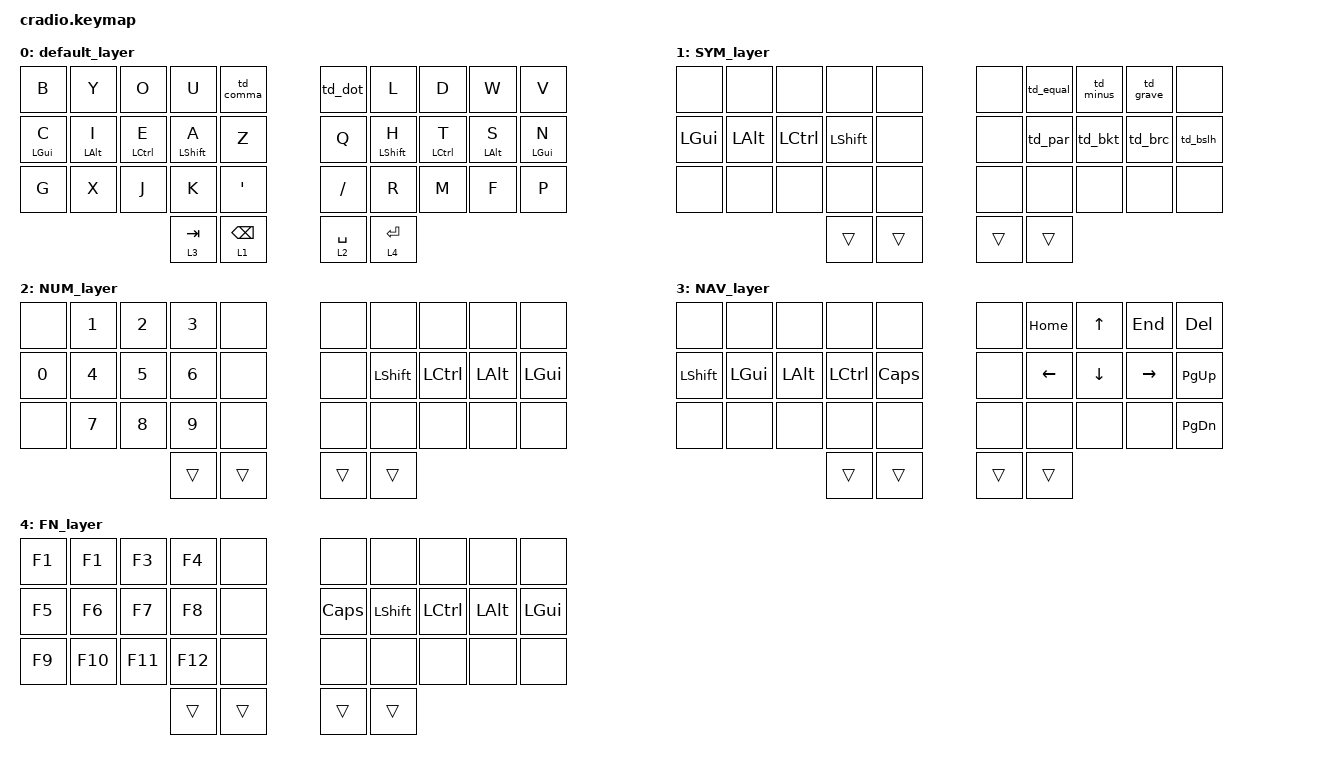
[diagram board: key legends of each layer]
// Copyright (c) 2022 The ZMK Contributors
// SPDX-License-Identifier: MIT

#include <behaviors.dtsi>
#include <dt-bindings/zmk/ext_power.h>
#include <dt-bindings/zmk/outputs.h>
#include <dt-bindings/zmk/keys.h>
#include <dt-bindings/zmk/bt.h>

&sk {
    release-after-ms = <10000>;
};

/ {
    behaviors {

        lo: layer_mo {
            label = "layer_mo";
            compatible = "zmk,behavior-hold-tap";
            #binding-cells = <2>;
            flavor = "hold-preferred";
            tapping-term-ms = <250>;
            quick-tap-ms = <500>;
            bindings = <&mo>, <&kp>;
        };

        hm: homerow_mods {
            label = "homerow_mods";
            compatible = "zmk,behavior-hold-tap";
            #binding-cells = <2>;
            flavor = "tap-preferred";
            tapping-term-ms = <350>;
            quick-tap-ms = <500>;
            bindings = <&sk>, <&kp>;
        };

        td_comma: tap_dance_comma {
            compatible = "zmk,behavior-tap-dance";
            label = "tap_dance_comma";
            #binding-cells = <0>;
            tapping-term-ms = <250>;
            bindings = <&kp COMMA>, <&kp SEMI>;
        };

        td_dot: tap_dance_dot {
            compatible = "zmk,behavior-tap-dance";
            label = "tap_dance_dot";
            #binding-cells = <0>;
            tapping-term-ms = <250>;
            bindings = <&kp DOT>, <&kp COLON>;
        };

        td_grave: tap_dance_grave {
            compatible = "zmk,behavior-tap-dance";
            label = "tap_dance_grave";
            #binding-cells = <0>;
            tapping-term-ms = <250>;
            bindings = <&kp GRAVE>, <&kp TILDE>;
        };

        td_minus: tap_dance_minus {
            compatible = "zmk,behavior-tap-dance";
            label = "tap_dance_minus";
            #binding-cells = <0>;
            tapping-term-ms = <250>;
            bindings = <&kp MINUS>, <&kp UNDER>;
        };

        td_equal: tap_dance_equal {
            compatible = "zmk,behavior-tap-dance";
            label = "tap_dance_equal";
            #binding-cells = <0>;
            tapping-term-ms = <250>;
            bindings = <&kp EQUAL>, <&kp PLUS>;
        };

        td_bslh: tap_dance_bslh {
            compatible = "zmk,behavior-tap-dance";
            label = "tap_dance_bslh";
            #binding-cells = <0>;
            tapping-term-ms = <250>;
            bindings = <&kp BSLH>, <&kp PIPE>;
        };

        td_brc: tap_dance_brc {
            compatible = "zmk,behavior-tap-dance";
            label = "tap_dance_brc";
            #binding-cells = <0>;
            tapping-term-ms = <250>;
            bindings = <&kp LBRC>, <&kp RBRC>;
        };

        td_bkt: tap_dance_bkt {
            compatible = "zmk,behavior-tap-dance";
            label = "tap_dance_bkt";
            #binding-cells = <0>;
            tapping-term-ms = <250>;
            bindings = <&kp LBKT>, <&kp RBKT>;
        };

        td_par: tap_dance_par {
            compatible = "zmk,behavior-tap-dance";
            label = "tap_dance_par";
            #binding-cells = <0>;
            tapping-term-ms = <250>;
            bindings = <&kp LPAR>, <&kp RPAR>;
        };
    };

    combos {
        compatible = "zmk,combos";
        combo_esc {
            timeout-ms = <60>;
            layers = <0>;
            key-positions = <1 2>;
            bindings = <&kp ESC>;
        };
    };

    keymap {
        compatible = "zmk,keymap";
        default_layer {
            bindings = <

            &kp B       &kp Y       &kp O       &kp U       &td_comma           &td_dot     &kp L       &kp D       &kp W       &kp V

            &hm LGUI C  &hm LALT I  &hm LCTRL E &hm LSHFT A &kp Z               &kp Q       &hm LSHFT H &hm LCTRL T &hm LALT S  &hm LGUI N

            &kp G       &kp X       &kp J       &kp K       &kp SQT             &kp FSLH    &kp R       &kp M       &kp F       &kp P

                                                &lo 3 TAB   &lo 1 BSPC          &lo 2 SPACE &lo 4 RET
            >;
        };

        SYM_layer {
            bindings = <

            &none       &none       &none       &none       &none               &none       &td_equal   &td_minus   &td_grave   &none

            &kp LGUI    &kp LALT    &kp LCTRL   &kp LSHFT   &none               &none       &td_par     &td_bkt     &td_brc     &td_bslh
    
            &none       &none       &none       &none       &none               &none       &none       &none       &none       &none

                                                &trans      &trans              &trans      &trans

            >;
        };

        NUM_layer {
            bindings = <

            &none       &kp N1      &kp N2      &kp N3      &none               &none       &none       &none       &none       &none

            &kp N0      &kp N4      &kp N5      &kp N6      &none               &none       &kp LSHFT   &kp LCTRL   &kp LALT    &kp LGUI
    
            &none       &kp N7      &kp N8      &kp N9      &none               &none       &none       &none       &none       &none

                                                &trans      &trans              &trans      &trans

            >;
        };

        NAV_layer {
            bindings = <

            &none       &none       &none       &none       &none               &none       &kp HOME    &kp UP      &kp END     &kp DEL

            &kp LSHFT   &kp LGUI    &kp LALT    &kp LCTRL   &kp CAPS            &none       &kp LEFT    &kp DOWN    &kp RIGHT   &kp PG_UP

            &none       &none       &none       &none       &none               &none       &none       &none       &none       &kp PG_DN

                                                &trans      &trans              &trans      &trans

            >;
        };

        FN_layer {
            bindings = <

            &kp F1      &kp F1      &kp F3      &kp F4      &none               &none       &none       &none       &none       &none

            &kp F5      &kp F6      &kp F7      &kp F8      &none               &kp CAPS    &kp LSHFT   &kp LCTRL   &kp LALT    &kp LGUI

            &kp F9      &kp F10     &kp F11     &kp F12     &none               &none       &none       &none       &none       &none

                                                &trans      &trans              &trans      &trans

            >;
        };
    };
};
